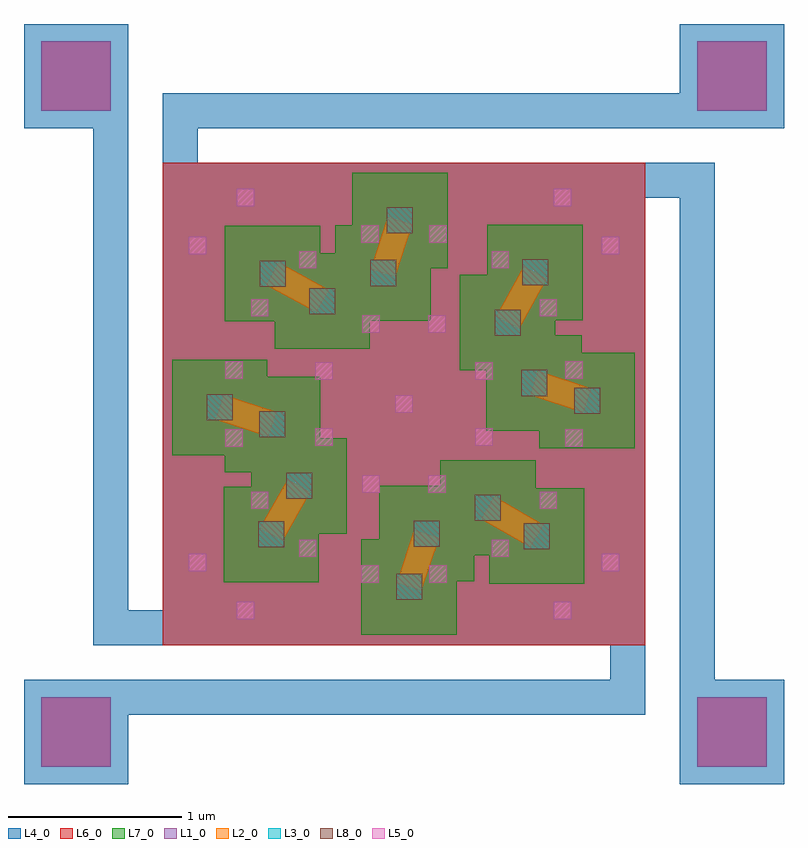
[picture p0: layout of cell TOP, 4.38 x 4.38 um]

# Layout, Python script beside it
# Stanford NEM Relay CAD Model
# Author: Akash Levy

# Import klayout
from math import sin, cos, pi, sqrt, atan2
from load_params import *
import pya

# Create layout and top cell
layout = pya.Layout()
top = layout.create_cell("TOP")

# Rotation transformation
def rotate(theta=360/n_sides):
    return pya.ICplxTrans(1, theta, False, 0, 0)

# Edge processor
ep = pya.EdgeProcessor()

# Create layers
nemanc = layout.layer(1, 0)
nemchan = layout.layer(2, 0)
nemcont = layout.layer(3, 0)
nembody = layout.layer(4, 0)
nemholes = layout.layer(5, 0)
nemsub = layout.layer(6, 0)
nemsubg = layout.layer(7, 0)
nemland = layout.layer(8, 0)

# Create anchors
ancloc = L_plate/2 + W_cant + L_anc/2
ancloc = pya.Point(ancloc, ancloc)
anchor = pya.Box(-L_via/2, -L_via/2, L_via/2, L_via/2).move(ancloc)
for _ in range(n_sides):
    top.shapes(nemanc).insert(anchor)
    top.shapes(nemsub).insert(anchor)
    anchor = anchor.transformed(rotate())

# Create relay body
plate = pya.Box(-L_plate/2, -L_plate/2, L_plate/2, L_plate/2)
anchor = pya.Box(-L_anc/2, -L_anc/2, L_anc/2, L_anc/2).move(ancloc)
cantloc = pya.Point(-L_plate/2, L_plate/2)
cantatt = pya.Box(0, 0, W_cant, W_cant).moved(cantloc)
cant = pya.Box(0, W_cant, L_cant + 2 * W_cant, 2 * W_cant).moved(cantloc)
relaycomps = [plate]
for _ in range(n_sides):
    relaycomps += [anchor, cantatt, cant]
    anchor = anchor.transformed(rotate())
    cantatt = cantatt.transformed(rotate())
    cant = cant.transformed(rotate())
relay = ep.merge_to_polygon(relaycomps, 0, True, True)[0]

# Insert relay holes
bound = pya.Box(-r_hole_pl*1.3, -r_hole_pl*1.3, r_hole_pl*1.3, r_hole_pl*1.3)
for i, n in enumerate(n_hole):
    r = float(i) / max_hole * r_hole_pl
    for h in range(n):
        holeloc = pya.Point(r*cos(2*pi/n*(h+0.5)), r*sin(2*pi/n*(h+0.5)))
        if bound.contains(holeloc):
            hole = pya.Box(-L_hole/2, -L_hole/2, L_hole/2, L_hole/2).moved(holeloc)
            top.shapes(nemholes).insert(hole)
            #relay.insert_hole(hole)
top.shapes(nembody).insert(relay)

# Create relay substrate
top.shapes(nemsub).insert(plate)

# Create contact layer and landing pads
for contx, conty in contpts:
    contloc = pya.Point(contx, conty)
    cont = pya.Box(-L_cont/2, -L_cont/2, L_cont/2, L_cont/2).moved(contloc)
    padl = L_cont + g_land*2
    lgap = pya.Box(-padl/2, -padl/2, padl/2, padl/2).moved(contloc)
    top.shapes(nemcont).insert(cont)
    top.shapes(nemsubg).insert(lgap)
    top.shapes(nemland).insert(cont)

# Create channel layer
for (pt1x, pt1y), (pt2x, pt2y) in zip(contpts[0::2], contpts[1::2]):
    chanloc = pya.Point((pt1x+pt2x)/2, (pt1y+pt2y)/2)
    chanlen = sqrt((pt2x-pt1x)**2 + (pt2y-pt1y)**2)
    changle = atan2(pt2y-pt1y, pt2x-pt1x) * 360 / (2 * pi) 
    chan = pya.Box(-chanlen/2, -L_cont/2, chanlen/2, L_cont/2)
    chan = pya.Polygon(chan).transformed(rotate(changle)).moved(chanloc)
    top.shapes(nemchan).insert(chan)

# Write drawing output
layout.write("relay.gds")
layout.write("relay.dxf")
layout.write("relay.cif")
